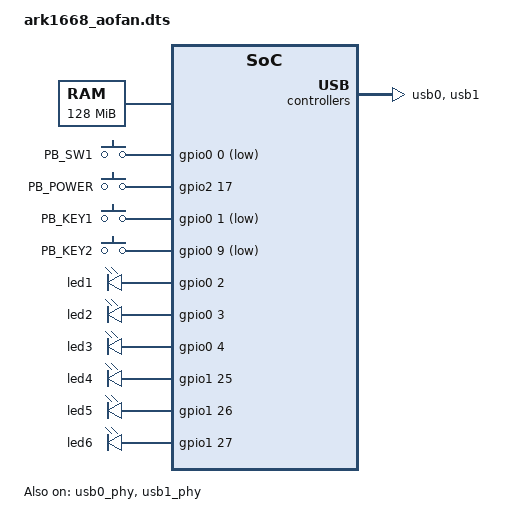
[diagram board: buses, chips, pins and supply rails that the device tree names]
// SPDX-License-Identifier: GPL-2.0
/dts-v1/;
#include "ark1668.dtsi"
#include "ark1668-pinctrl.dtsi"
#include <dt-bindings/gpio/gpio.h>

/ {
	memory {
		reg = <0x0 0x8000000>;
	};

	gpio_keys {
		compatible = "gpio-keys";

		key0 {
			label = "PB_SW1";
			gpios = <&gpio0 0 GPIO_ACTIVE_LOW>;
			linux,code = <0x100>;
			debounce-interval = <20>;
		};

		key1 {
			label = "PB_POWER";
			gpios = <&gpio2 17 GPIO_ACTIVE_HIGH>;
			linux,code = <0x101>;
			debounce-interval = <20>;
		};

		key2 {
			label = "PB_KEY1";
			gpios = <&gpio0 1 GPIO_ACTIVE_LOW>;
			linux,code = <0x102>;
			//debounce-interval = <20>;
		};

		key3 {
			label = "PB_KEY2";
			gpios = <&gpio0 9 GPIO_ACTIVE_LOW>;
			linux,code = <0x103>;
			debounce-interval = <20>;
		};
	};

	leds {
		compatible = "gpio-leds";

		led1 {
			label = "led1";
			gpios = <&gpio0 2 GPIO_ACTIVE_HIGH>;
			linux,default-trigger = "none";
		};

		led2 {
			label = "led2";
			gpios = <&gpio0 3 GPIO_ACTIVE_HIGH>;
			linux,default-trigger = "none";
		};

		led3 {
			label = "led3";
			gpios = <&gpio0 4 GPIO_ACTIVE_HIGH>;
			linux,default-trigger = "none";
		};

		led4 {
			label = "led4";
			gpios = <&gpio1 25 GPIO_ACTIVE_HIGH>;
			linux,default-trigger = "none";
		};

		led5 {
			label = "led5";
			gpios = <&gpio1 26 GPIO_ACTIVE_HIGH>;
			linux,default-trigger = "none";
		};

		led6 {
			label = "led6";
			gpios = <&gpio1 27 GPIO_ACTIVE_HIGH>;
			linux,default-trigger = "none";
		};
	};
};

&usb0_phy {
    compatible = "usb-nop-xceiv";
    #phy-cells = <0>;
    status = "okay";
};

&usb1_phy {
    compatible = "usb-nop-xceiv";
    #phy-cells = <0>;
    status = "okay";
};

&usb0 {
     status = "okay";
     gpio-id = <0xFFFFFFFF>;
};

&usb1 {
     status = "okay";
     gpio-id = <0xFFFFFFFF>;
};


